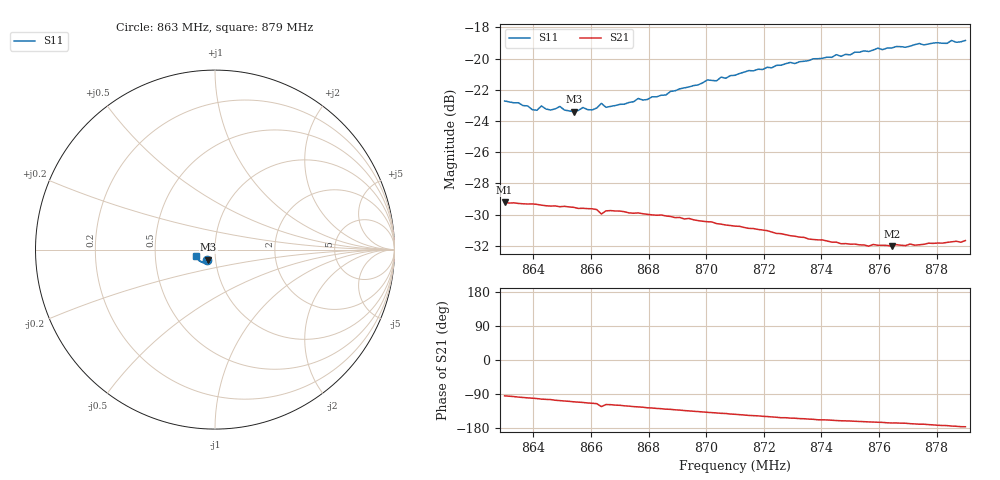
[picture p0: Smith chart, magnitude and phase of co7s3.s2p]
# HZ S RI R 50
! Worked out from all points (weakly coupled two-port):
!   101 points, 863 MHz to 879 MHz, reference 50 ohm
!   highest |S21| = -29.22 dB at 863 MHz (marker M1); lowest = -32.0 dB at 876.44 MHz (marker M2)
!   lowest |S11| = -23.4 dB at 865.4 MHz (marker M3), VSWR 1.14, Z = 46.1 - j5.23 ohm
!   |S11| at or under -10 dB: start of sweep to end of sweep
!   S12 and S22 are empty: the file has one direction only
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8.63e8  -0.0469 -0.0561  -0.00276 -0.0345  0 0  0 0
8.6348e8  -0.0447 -0.0566  -0.00473 -0.034  0 0  0 0
8.6396e8  -0.041 -0.0551  -0.00639 -0.0336  0 0  0 0
8.6412e8  -0.041 -0.0546  -0.00692 -0.0334  0 0  0 0
8.6428e8  -0.0415 -0.057  -0.00777 -0.033  0 0  0 0
8.646e8  -0.0396 -0.0558  -0.00842 -0.0326  0 0  0 0
8.6492e8  -0.0415 -0.0567  -0.00992 -0.032  0 0  0 0
8.654e8  -0.0372 -0.0564  -0.0116 -0.0313  0 0  0 0
8.6572e8  -0.0378 -0.0586  -0.0124 -0.0307  0 0  0 0
8.6604e8  -0.0365 -0.0579  -0.0135 -0.0301  0 0  0 0
8.6636e8  -0.0407 -0.0593  -0.0173 -0.0266  0 0  0 0
8.6652e8  -0.0358 -0.0599  -0.015 -0.0288  0 0  0 0
8.6844e8  -0.0385 -0.0659  -0.0196 -0.0247  0 0  0 0
8.7004e8  -0.0453 -0.0724  -0.0223 -0.0201  0 0  0 0
8.7036e8  -0.0453 -0.0718  -0.0226 -0.0191  0 0  0 0
8.7052e8  -0.0481 -0.0728  -0.0228 -0.0186  0 0  0 0
8.71e8  -0.0501 -0.0729  -0.0233 -0.0174  0 0  0 0
8.7372e8  -0.0689 -0.0722  -0.0241 -0.0105  0 0  0 0
8.7564e8  -0.0838 -0.0639  -0.024 -0.00717  0 0  0 0
8.7596e8  -0.0871 -0.0639  -0.0243 -0.00682  0 0  0 0
8.7644e8  -0.0909 -0.0586  -0.0243 -0.00595  0 0  0 0
8.79e8  -0.1081 -0.0373  -0.026 -0.00176  0 0  0 0
